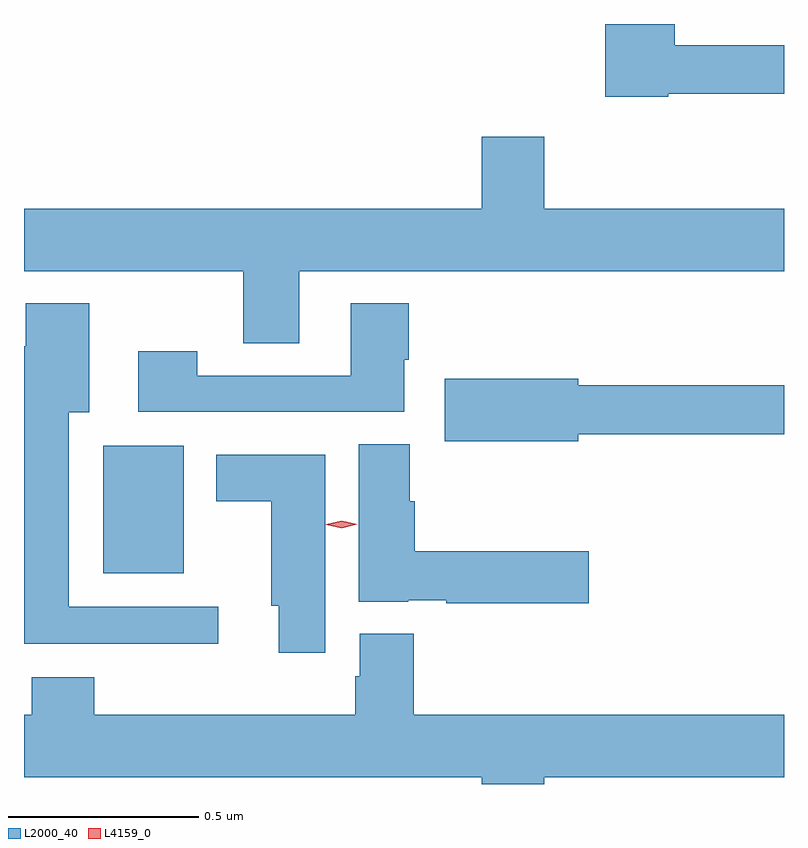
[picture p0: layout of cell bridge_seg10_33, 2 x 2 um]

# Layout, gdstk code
import gdstk
lib = gdstk.Library(unit=1e-6, precision=1e-09)
def R(c, l, rs):  # rectangles x0, y0, x1, y1
    for r in rs: c.add(gdstk.rectangle(r[:2], r[2:], *l))
def P(c, l, *ps):  # polygons
    for p in ps: c.add(gdstk.Polygon(p, *l))
L2000_40 = (2000, 40)
L4159_0 = (4159, 0)

bridge_seg10_33 = lib.new_cell('bridge_seg10_33')
R(bridge_seg10_33, L2000_40, [(943.232,1260.893,943.444,1261.228)])
P(bridge_seg10_33, L2000_40, [(944.718,1262.154),(945.023,1262.154),(945.023,1262.282),(944.735,1262.282),(944.735,1262.338),(944.552,1262.338),(944.552,1262.146),(944.718,1262.146)],
  [(943.747,1261.688),(945.023,1261.688),(945.023,1261.852),(944.392,1261.852),(944.392,1262.041),(944.228,1262.041),(944.228,1261.852),(943.023,1261.852),(943.023,1261.688),(943.6,1261.688),(943.6,1261.498),(943.747,1261.498)],
  [(944.023,1261.455),(944.036,1261.455),(944.036,1261.603),(943.883,1261.603),(943.883,1261.413),(943.479,1261.413),(943.479,1261.477),(943.323,1261.477),(943.323,1261.317),(944.023,1261.317)],
  [(943.534,1260.804),(943.141,1260.804),(943.141,1261.316),(943.195,1261.316),(943.195,1261.603),(943.028,1261.603),(943.028,1261.49),(943.023,1261.49),(943.023,1260.707),(943.534,1260.707)],
  [(944.482,1261.258),(945.023,1261.258),(945.023,1261.387),(944.482,1261.387),(944.482,1261.405),(944.13,1261.405),(944.13,1261.24),(944.482,1261.24)],
  [(944.509,1260.951),(944.051,1260.951),(944.051,1261.082),(944.038,1261.082),(944.038,1261.232),(943.904,1261.232),(943.904,1260.818),(944.034,1260.818),(944.034,1260.821),(944.134,1260.821),(944.134,1260.814),(944.509,1260.814)],
  [(943.816,1261.204),(943.529,1261.204),(943.529,1261.082),(943.673,1261.082),(943.673,1260.807),(943.694,1260.807),(943.694,1260.684),(943.816,1260.684)],
  [(944.392,1260.356),(945.023,1260.356),(945.023,1260.52),(944.048,1260.52),(944.048,1260.733),(943.907,1260.733),(943.907,1260.621),(943.895,1260.621),(943.895,1260.52),(943.208,1260.52),(943.208,1260.619),(943.043,1260.619),(943.043,1260.52),(943.023,1260.52),(943.023,1260.356),(944.228,1260.356),(944.228,1260.338),(944.392,1260.338)])
P(bridge_seg10_33, L4159_0, [(943.859,1261.011),(943.819,1261.02),(943.818,1261.02),(943.819,1261.021),(943.859,1261.031),(943.9,1261.021),(943.9,1261.021),(943.9,1261.021)])

lib.write_gds('bridge_seg10_33.gds')
